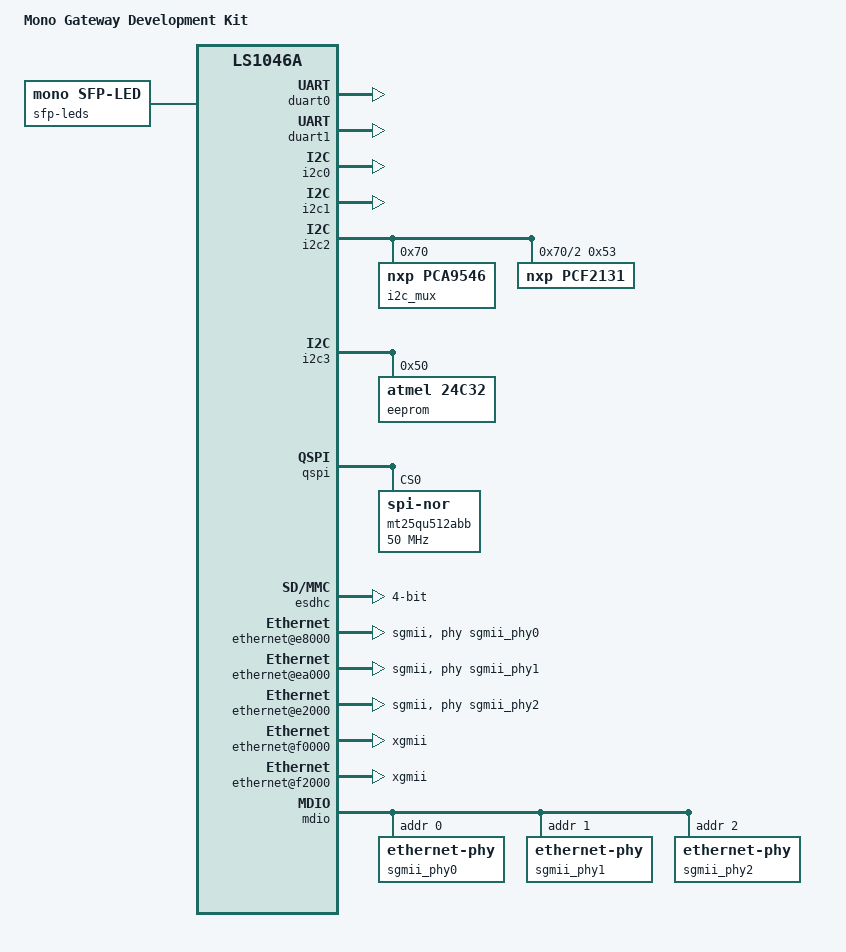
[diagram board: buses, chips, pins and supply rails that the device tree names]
// SPDX-License-Identifier: GPL-2.0+ OR X11
/*
 * Device Tree Include file for Gateway Development Kit.
 *
 * Copyright 2025 Mono Technologies Inc.
 *
 */

#include <dt-bindings/leds/common.h>
#include <dt-bindings/gpio/gpio.h>

/dts-v1/;
#include "fsl-ls1046a.dtsi"

/ {
	model = "Mono Gateway Development Kit";

	aliases {
		spi0 = &qspi;
		serial0 = &duart0;
		serial1 = &duart1;
		mdio0 = &mdio;
        i2c0 = &i2c0;
        i2c1 = &i2c1;
        i2c2 = &i2c2;
        i2c3 = &i2c3;  /* Force i2c@21b0000 to always be bus 3 */
    };

	chosen {
		stdout-path = "serial0:115200n8";
	};

	/*
	 * Port LEDs driven from MOD_DEF0 and the MAC's XFI PCS. Each port
	 * names the ethernet device whose MAC has to be open before its PCS
	 * reports link, and the internal MDIO bus that PCS answers on.
	 */
	sfp-leds {
		compatible = "mono,sfp-led";

		port0 {
			mono,eth-name = "fm1-mac9";
			mono,pcs-name = "mdio@f1000";
			mod-def0-gpios = <&gpio2 12 GPIO_ACTIVE_LOW>;
			link-gpios = <&gpio2 17 GPIO_ACTIVE_HIGH>;
			activity-gpios = <&gpio2 18 GPIO_ACTIVE_HIGH>;
		};

		port1 {
			mono,eth-name = "fm1-mac10";
			mono,pcs-name = "mdio@f3000";
			mod-def0-gpios = <&gpio2 10 GPIO_ACTIVE_LOW>;
			link-gpios = <&gpio2 15 GPIO_ACTIVE_HIGH>;
			activity-gpios = <&gpio2 16 GPIO_ACTIVE_HIGH>;
		};
	};
};

&duart0 {
	bootph-all;
	status = "okay";
};

&duart1 {
	bootph-all;
	status = "okay";
};

&i2c0 {
	status = "okay";
};

&i2c1 {
	status = "okay";
};

&i2c2 {
    status = "okay";

    i2c_mux: i2c-mux@70 {
        compatible = "nxp,pca9546";
        #address-cells = <1>;
        #size-cells = <0>;
        reg = <0x70>;

        i2c@2 {  /* Channel 2 */
            #address-cells = <1>;
            #size-cells = <0>;
            reg = <2>;

            pcf2131: rtc@53 {
                compatible = "nxp,pcf2131";
                reg = <0x53>;
            };
        };
    };
};

&i2c3 {
    status = "okay";

    eeprom@50 {
        compatible = "atmel,24c32";   /* AT24CS32 - 32Kbit (4KB) */
        reg = <0x50>;
        pagesize = <32>;              /* 32-byte page writes */
        size = <4096>;                /* 4KB (32Kbit) total size */
    };
};

&usb1 {
	status = "disabled";
};

&usb2 {
	status = "disabled";
};

&qspi {
	status = "okay";

	mt25qu512abb: flash@0 {
		#address-cells = <1>;
		#size-cells = <1>;
		compatible = "jedec,spi-nor";
		spi-max-frequency = <50000000>;
		reg = <0>;
		spi-tx-bus-width = <1>;
        spi-rx-bus-width = <4>;
	};

};

&esdhc {
	mmc-hs200-1_8v;
	bus-width = <4>;
	status = "okay";
};

#include "fsl-ls1046-post.dtsi"

&fman0 {
	ethernet@e0000 {
		status = "disabled";
	};

	ethernet@e4000 {
		status = "disabled";
	};

	ethernet@e6000 {
		status = "disabled";
	};

	ethernet@e8000 {
		phy-handle = <&sgmii_phy0>;
		phy-connection-type = "sgmii";
		status = "okay";
	};

	ethernet@ea000 {
		phy-handle = <&sgmii_phy1>;
		phy-connection-type = "sgmii";
		status = "okay";
	};

	ethernet@e2000 {
		phy-handle = <&sgmii_phy2>;
		phy-connection-type = "sgmii";
		status = "okay";
	};

	ethernet@f0000 {
		fixed-link = <0 1 10000 0 0>;
		phy-connection-type = "xgmii";
		status = "okay";
	};

	ethernet@f2000 {
		fixed-link = <0 1 10000 0 0>;
		phy-connection-type = "xgmii";
		status = "okay";
	};

	mdio@fc000 {
		status = "disabled";
	};

	mdio: mdio@fd000 {
		sgmii_phy0: ethernet-phy@0 {
			reg = <0x0>;
		};

		sgmii_phy1: ethernet-phy@1 {
			reg = <0x1>;
		};

		sgmii_phy2: ethernet-phy@2 {
			reg = <0x2>;
		};
	};
};
